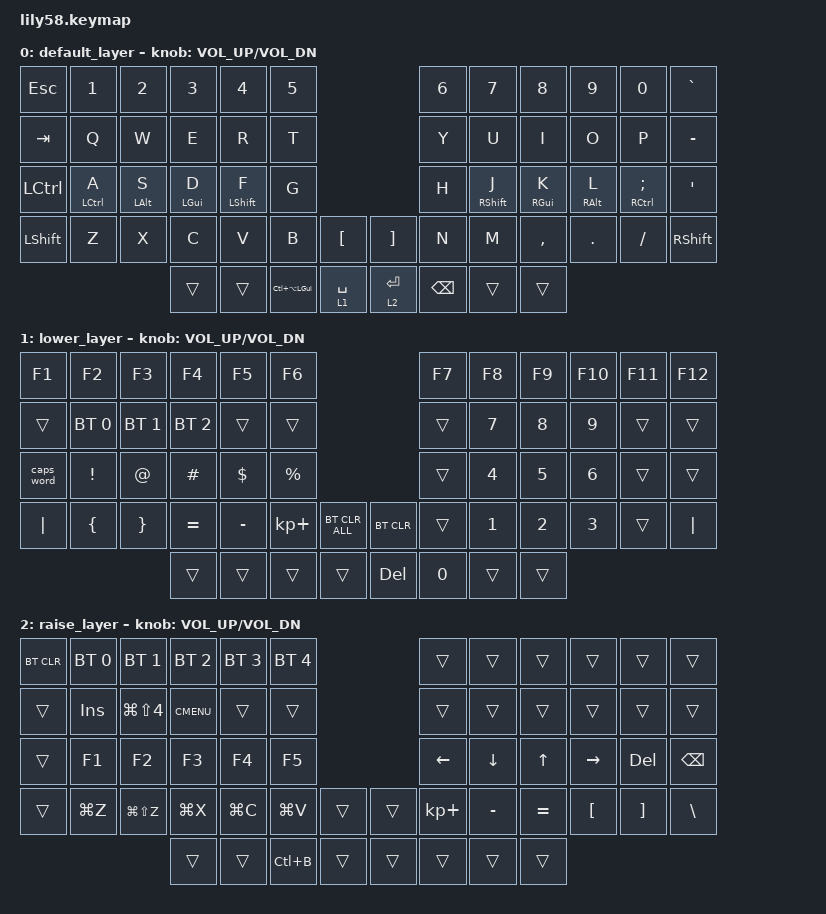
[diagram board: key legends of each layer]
/*
 * Copyright (c) 2020 The ZMK Contributors
 *
 * SPDX-License-Identifier: MIT
 */

#include <behaviors.dtsi>
#include <dt-bindings/zmk/bt.h>
#include <dt-bindings/zmk/keys.h>

&mt {
    tapping-term-ms = <250>;
    flavor = "tap-preferred";
    retro-tap;
    quick-tap-ms = <150>;
    hold-trigger-on-release;
    require-prior-idle-ms = <60>;
};

/ {
    combos {
        compatible = "zmk,combos";

        left-shift-mod-combo {
            bindings = <&kp LSHIFT>;
            key-positions = <27 28>;
        };

        righ-shift-mod-combo {
            bindings = <&kp RIGHT_SHIFT>;
            key-positions = <32 31>;
        };

        right-cmd-mod-combo {
            bindings = <&kp LEFT_COMMAND>;
            key-positions = <32 33>;
        };

        left-cmd-mod-combo {
            bindings = <&kp LEFT_COMMAND>;
            key-positions = <27 26>;
        };

        left-alt-mod-combo {
            bindings = <&kp LEFT_ALT>;
            key-positions = <25 26>;
        };

        right-alt-mod-combo {
            bindings = <&kp RIGHT_ALT>;
            key-positions = <33 34>;
        };
    };

    keymap {
        compatible = "zmk,keymap";

        default_layer {
            // ------------------------------------------------------------------------------------------------------------
            // |  ESC  |  1  |  2  |  3   |  4   |  5   |                   |  6   |  7    |  8    |  9   |   0   |   `   |
            // |  TAB  |  Q  |  W  |  E   |  R   |  T   |                   |  Y   |  U    |  I    |  O   |   P   |   -   |
            // |  CTRL |  A  |  S  |  D   |  F   |  G   |                   |  H   |  J    |  K    |  L   |   ;   |   '   |
            // | SHIFT |  Z  |  X  |  C   |  V   |  B   |   "["  |  |  "]"  |  N   |  M    |  ,    |  .   |   /   | SHIFT |
            //                     | ALT  | GUI  | MEH  |  SPACE |  | ENTER | RAISE| BSPC  | GUI   |

            bindings = <
&kp ESC    &kp N1              &kp N2          &kp N3          &kp N4            &kp N5                                              &kp N6         &kp N7             &kp N8           &kp N9           &kp N0                       &kp GRAVE
&kp TAB    &kp Q               &kp W           &kp E           &kp R             &kp T                                               &kp Y          &kp U              &kp I            &kp O            &kp P                        &kp MINUS
&kp LCTRL  &mt LEFT_CONTROL A  &mt LEFT_ALT S  &mt LEFT_GUI D  &mt LEFT_SHIFT F  &kp G                                               &kp H          &mt RIGHT_SHIFT J  &mt RIGHT_GUI K  &mt RIGHT_ALT L  &mt RIGHT_CONTROL SEMICOLON  &kp SQT
&kp LSHFT  &kp Z               &kp X           &kp C           &kp V             &kp B             &kp LBKT       &kp RIGHT_BRACKET  &kp N          &kp M              &kp COMMA        &kp DOT          &kp FSLH                     &kp RSHFT
                                               &trans          &trans            &kp LC(LA(LGUI))  &lt 1 SPACE    &lt 2 ENTER        &kp BACKSPACE  &trans             &trans
            >;

            sensor-bindings = <&inc_dec_kp C_VOL_UP C_VOL_DN>;
        };

        lower_layer {
            // ------------------------------------------------------------------------------------------------------------
            // | BTCLR | BT1 | BT2 |  BT3 |  BT4 |  BT5 |                   |      |       |       |      |       |       |
            // |  F1   |  F2 |  F3 |  F4  |  F5  |  F6  |                   |  F7  |  F8   |  F9   |  F10 |  F11  |  F12  |
            // |   `   |  !  |  @  |  #   |  $   |  %   |                   |  ^   |  &    |  *    |  (   |   )   |   ~   |
            // |       |     |     |      |      |      |        |  |       |      |  _    |  +    |  {   |   }   |  "|"  |
            //                     |      |      |      |        |  |       |      |       |       |

            bindings = <
&kp F1      &kp F2        &kp F3        &kp F4        &kp F5      &kp F6                                     &kp F7  &kp F8        &kp F9        &kp F10       &kp F11  &kp F12
&trans      &bt BT_SEL 0  &bt BT_SEL 1  &bt BT_SEL 2  &trans      &trans                                     &trans  &kp N7        &kp N8        &kp N9        &trans   &trans
&caps_word  &kp EXCL      &kp AT        &kp HASH      &kp DOLLAR  &kp PRCNT                                  &trans  &kp NUMBER_4  &kp N5        &kp NUMBER_6  &trans   &trans
&kp PIPE    &kp LBRC      &kp RBRC      &kp EQUAL     &kp MINUS   &kp KP_PLUS  &bt BT_CLR_ALL    &bt BT_CLR  &trans  &kp NUMBER_1  &kp NUMBER_2  &kp NUMBER_3  &trans   &kp PIPE
                                        &trans        &trans      &trans       &trans            &kp DELETE  &kp N0  &trans        &trans
            >;

            sensor-bindings = <&inc_dec_kp C_VOL_UP C_VOL_DN>;
        };

        raise_layer {
            // ------------------------------------------------------------------------------------------------------------
            // |       |     |     |      |      |      |                   |      |       |       |      |       |       |
            // |   `   |  1  |  2  |  3   |  4   |  5   |                   |  6   |   7   |   8   |  9   |   0   |       |
            // |   F1  |  F2 |  F3 |  F4  |  F5  |  F6  |                   |      |   <-  |   v   |  ^   |  ->   |       |
            // |   F7  |  F8 |  F9 |  F10 |  F11 |  F12 |        |  |       |  +   |   -   |   =   |  [   |   ]   |   \   |
            //                     |      |      |      |        |  |       |      |       |       |

            bindings = <
&bt BT_CLR  &bt BT_SEL 0  &bt BT_SEL 1    &bt BT_SEL 2  &bt BT_SEL 3  &bt BT_SEL 4                    &trans       &trans          &trans        &trans           &trans    &trans
&trans      &kp INS       &kp LG(LS(N4))  &kp K_CMENU   &trans        &trans                          &trans       &trans          &trans        &trans           &trans    &trans
&trans      &kp F1        &kp F2          &kp F3        &kp F4        &kp F5                          &kp LEFT     &kp DOWN_ARROW  &kp UP_ARROW  &kp RIGHT_ARROW  &kp DEL   &kp BSPC
&trans      &kp LG(Z)     &kp LG(LS(Z))   &kp LG(X)     &kp LG(C)     &kp LG(V)     &trans    &trans  &kp KP_PLUS  &kp MINUS       &kp EQUAL     &kp LBKT         &kp RBKT  &kp BSLH
                                          &trans        &trans        &kp LC(B)     &trans    &trans  &trans       &trans          &trans
            >;

            sensor-bindings = <&inc_dec_kp C_VOL_UP C_VOL_DN>;
        };
    };
};
